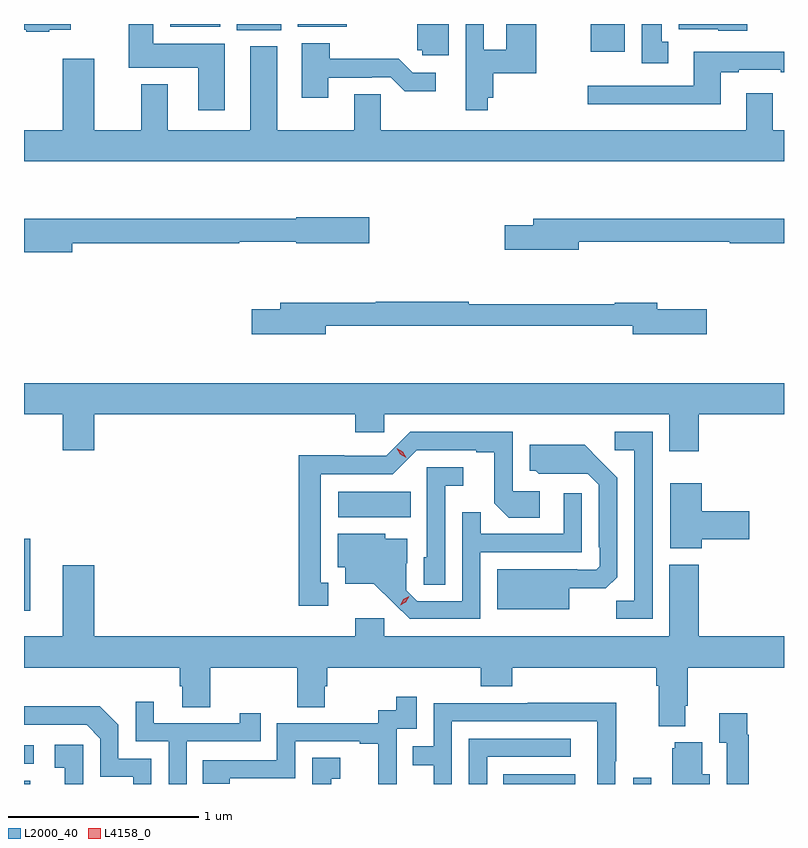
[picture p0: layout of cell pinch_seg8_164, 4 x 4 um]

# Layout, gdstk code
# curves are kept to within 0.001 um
import gdstk
lib = gdstk.Library(unit=1e-6, precision=1e-09)
def R(c, l, rs):  # rectangles x0, y0, x1, y1
    for r in rs: c.add(gdstk.rectangle(r[:2], r[2:], *l))
def P(c, l, *ps):  # polygons
    for p in ps: c.add(gdstk.Polygon(p, *l))
L2000_40 = (2000, 40)
L4158_0 = (4158, 0)

pinch_seg8_164 = lib.new_cell('pinch_seg8_164')
R(pinch_seg8_164, L2000_40, [(692.275,1153.183,692.308,1153.201), (694.798,1153.183,695.176,1153.234), (695.481,1153.183,695.577,1153.216), (692.275,1153.29,692.326,1153.386), (692.275,1154.094,692.308,1154.475), (693.93,1154.588,694.31,1154.722), (695.258,1157.036,695.437,1157.183), (693.395,1157.15,693.628,1157.183), (693.044,1157.168,693.307,1157.183), (693.716,1157.168,693.974,1157.183)])
P(pinch_seg8_164, L2000_40, [(693.331,1157.08),(692.956,1157.08),(692.956,1157.183),(692.827,1157.183),(692.827,1156.952),(693.191,1156.952),(693.191,1156.728),(693.331,1156.728)],
  [(694.51,1157.183),(694.346,1157.183),(694.346,1157.046),(694.371,1157.046),(694.371,1157.019),(694.51,1157.019)],
  [(692.408,1157.153),(692.521,1157.153),(692.521,1157.183),(692.275,1157.183),(692.275,1157.153),(692.286,1157.153),(692.286,1157.143),(692.408,1157.143)],
  [(695.665,1157.09),(695.632,1157.09),(695.632,1157.183),(695.525,1157.183),(695.525,1156.977),(695.665,1156.977)],
  [(694.715,1156.796),(694.745,1156.796),(694.745,1156.925),(694.972,1156.925),(694.972,1157.183),(694.814,1157.183),(694.814,1157.048),(694.695,1157.048),(694.695,1157.183),(694.599,1157.183),(694.599,1156.728),(694.715,1156.728)],
  [(696.082,1157.183),(695.72,1157.183),(695.72,1157.156),(695.928,1157.156),(695.928,1157.147),(696.082,1157.147)],
  [(693.877,1156.899),(694.106,1156.899),(694.106,1156.902),(694.206,1156.902),(694.279,1156.829),(694.441,1156.829),(694.441,1156.926),(694.32,1156.926),(694.247,1156.999),(693.885,1156.999),(693.885,1157.083),(693.737,1157.083),(693.737,1156.794),(693.877,1156.794)],
  [(692.891,1156.867),(692.891,1156.624),(692.644,1156.624),(692.644,1156.999),(692.48,1156.999),(692.48,1156.624),(692.275,1156.624),(692.275,1156.46),(696.275,1156.46),(696.275,1156.624),(696.217,1156.624),(696.217,1156.819),(696.077,1156.819),(696.077,1156.624),(694.152,1156.624),(694.152,1156.814),(694.013,1156.814),(694.013,1156.624),(693.607,1156.624),(693.607,1157.065),(693.467,1157.065),(693.467,1156.624),(693.031,1156.624),(693.031,1156.867)],
  [(695.941,1156.929),(696.037,1156.929),(696.037,1156.941),(696.257,1156.941),(696.257,1156.929),(696.275,1156.929),(696.275,1157.038),(696.261,1157.038),(696.261,1157.037),(695.801,1157.037),(695.801,1156.857),(695.241,1156.857),(695.241,1156.76),(695.941,1156.76)],
  [(692.53,1156.03),(693.408,1156.03),(693.408,1156.038),(693.708,1156.038),(693.708,1156.03),(694.093,1156.03),(694.093,1156.167),(693.708,1156.167),(693.708,1156.159),(692.275,1156.159),(692.275,1155.983),(692.53,1155.983)],
  [(695.194,1156.038),(695.99,1156.038),(695.99,1156.03),(696.275,1156.03),(696.275,1156.159),(694.955,1156.159),(694.955,1156.125),(694.806,1156.125),(694.806,1155.995),(695.194,1155.995)],
  [(693.862,1155.594),(695.48,1155.594),(695.48,1155.551),(695.869,1155.551),(695.869,1155.681),(695.608,1155.681),(695.608,1155.715),(695.384,1155.715),(695.384,1155.707),(694.616,1155.707),(694.616,1155.722),(694.127,1155.722),(694.127,1155.715),(693.623,1155.715),(693.623,1155.681),(693.474,1155.681),(693.474,1155.551),(693.862,1155.551)],
  [(695.825,1155.128),(696.275,1155.128),(696.275,1155.292),(692.275,1155.292),(692.275,1155.128),(692.48,1155.128),(692.48,1154.94),(692.644,1154.94),(692.644,1155.128),(694.019,1155.128),(694.019,1155.035),(694.17,1155.035),(694.17,1155.128),(695.672,1155.128),(695.672,1154.934),(695.825,1154.934)],
  [(695.583,1155.036),(695.385,1155.036),(695.385,1154.94),(695.487,1154.94),(695.487,1154.147),(695.392,1154.147),(695.392,1154.052),(695.583,1154.052)],
  [(693.877,1154.241),(693.838,1154.241),(693.838,1154.814),(694.215,1154.814),(694.341,1154.94),(694.655,1154.94),(694.655,1154.928),(694.749,1154.928),(694.749,1154.66),(694.825,1154.584),(694.99,1154.584),(694.99,1154.724),(694.848,1154.724),(694.848,1155.036),(694.308,1155.036),(694.182,1154.91),(693.96,1154.91),(693.96,1154.912),(693.72,1154.912),(693.72,1154.121),(693.877,1154.121)],
  [(695.146,1154.213),(695.338,1154.213),(695.397,1154.272),(695.397,1154.794),(695.225,1154.968),(694.937,1154.968),(694.937,1154.832),(694.968,1154.832),(694.984,1154.816),(695.241,1154.817),(695.301,1154.757),(695.301,1154.428),(695.304,1154.428),(695.304,1154.328),(695.286,1154.31),(695.186,1154.31),(695.186,1154.314),(694.766,1154.314),(694.766,1154.102),(695.146,1154.102)],
  [(694.491,1154.753),(694.588,1154.753),(694.588,1154.85),(694.395,1154.85),(694.395,1154.376),(694.38,1154.376),(694.38,1154.233),(694.491,1154.233)],
  [(695.842,1154.471),(696.091,1154.471),(696.091,1154.618),(695.842,1154.618),(695.842,1154.767),(695.675,1154.767),(695.675,1154.423),(695.842,1154.423)],
  [(694.677,1154.403),(695.211,1154.403),(695.211,1154.713),(695.115,1154.713),(695.115,1154.499),(694.679,1154.499),(694.679,1154.612),(694.581,1154.612),(694.581,1154.145),(694.344,1154.145),(694.287,1154.202),(694.287,1154.344),(694.291,1154.344),(694.291,1154.473),(694.176,1154.473),(694.176,1154.5),(693.926,1154.5),(693.926,1154.324),(693.965,1154.324),(693.965,1154.237),(694.117,1154.237),(694.304,1154.052),(694.677,1154.052)],
  [(694.17,1154.056),(694.019,1154.056),(694.019,1153.96),(692.644,1153.96),(692.644,1154.335),(692.48,1154.335),(692.48,1153.96),(692.275,1153.96),(692.275,1153.796),(693.095,1153.796),(693.095,1153.698),(693.107,1153.698),(693.107,1153.588),(693.255,1153.588),(693.255,1153.796),(693.712,1153.796),(693.712,1153.588),(693.859,1153.588),(693.859,1153.698),(693.872,1153.698),(693.872,1153.796),(694.679,1153.796),(694.679,1153.697),(694.844,1153.697),(694.844,1153.796),(695.603,1153.796),(695.603,1153.7),(695.615,1153.7),(695.615,1153.487),(695.755,1153.487),(695.755,1153.594),(695.768,1153.594),(695.768,1153.796),(696.275,1153.796),(696.275,1153.96),(695.825,1153.96),(695.825,1154.338),(695.672,1154.338),(695.672,1153.96),(694.17,1153.96)],
  [(694.238,1153.244),(694.236,1153.244),(694.236,1153.473),(694.341,1153.473),(694.341,1153.642),(694.233,1153.642),(694.233,1153.572),(694.14,1153.572),(694.14,1153.503),(693.606,1153.503),(693.606,1153.308),(693.217,1153.308),(693.217,1153.185),(693.357,1153.185),(693.357,1153.212),(693.702,1153.212),(693.702,1153.407),(694.043,1153.407),(694.043,1153.395),(694.139,1153.395),(694.139,1153.183),(694.238,1153.183)],
  [(693.132,1153.407),(693.521,1153.407),(693.521,1153.555),(693.41,1153.555),(693.41,1153.503),(692.959,1153.503),(692.959,1153.615),(692.862,1153.615),(692.862,1153.407),(693.036,1153.407),(693.036,1153.183),(693.132,1153.183)],
  [(694.527,1153.512),(695.292,1153.512),(695.292,1153.183),(695.388,1153.183),(695.388,1153.303),(695.391,1153.303),(695.391,1153.61),(694.927,1153.61),(694.927,1153.608),(694.431,1153.608),(694.431,1153.383),(694.321,1153.383),(694.321,1153.282),(694.431,1153.282),(694.431,1153.183),(694.527,1153.183)],
  [(692.946,1153.317),(692.772,1153.317),(692.772,1153.494),(692.674,1153.592),(692.275,1153.592),(692.275,1153.494),(692.604,1153.494),(692.676,1153.422),(692.676,1153.221),(692.849,1153.221),(692.849,1153.183),(692.946,1153.183)],
  [(696.089,1153.442),(696.082,1153.442),(696.082,1153.555),(695.933,1153.555),(695.933,1153.399),(695.973,1153.399),(695.973,1153.183),(696.089,1153.183)],
  [(694.713,1153.326),(695.152,1153.326),(695.152,1153.422),(694.617,1153.422),(694.617,1153.183),(694.713,1153.183)],
  [(695.884,1153.234),(695.845,1153.234),(695.845,1153.402),(695.699,1153.402),(695.699,1153.371),(695.687,1153.371),(695.687,1153.183),(695.884,1153.183)],
  [(692.586,1153.39),(692.436,1153.39),(692.436,1153.269),(692.489,1153.269),(692.489,1153.183),(692.586,1153.183)],
  [(693.891,1153.211),(693.94,1153.211),(693.94,1153.321),(693.792,1153.321),(693.792,1153.183),(693.891,1153.183)])
P(pinch_seg8_164, L4158_0, [(694.254,1154.125),(694.254,1154.125),(694.272,1154.155),(694.303,1154.17),(694.303,1154.17),(694.303,1154.17),(694.285,1154.14),(694.254,1154.125)],
  [(694.287,1154.9),(694.255,1154.918),(694.237,1154.951),(694.237,1154.951),(694.237,1154.951),(694.269,1154.932),(694.288,1154.9),(694.288,1154.9)])

lib.write_gds('pinch_seg8_164.gds')
